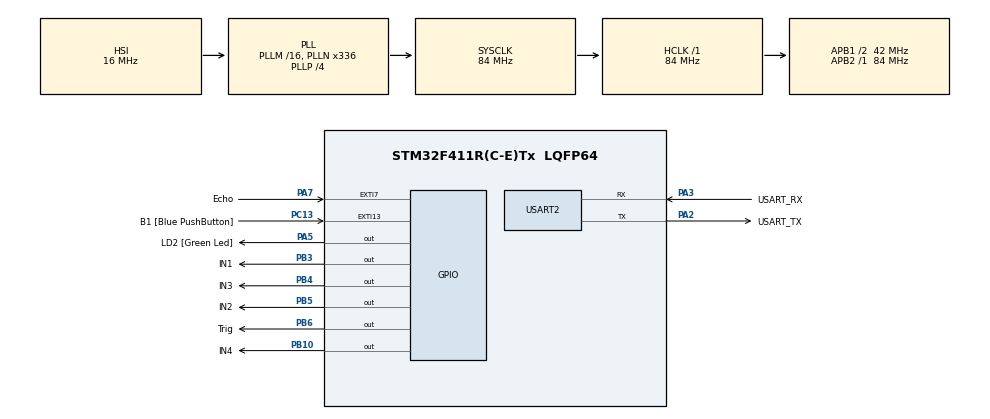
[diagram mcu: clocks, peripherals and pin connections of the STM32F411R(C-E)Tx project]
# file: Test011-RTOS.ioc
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FREERTOS.BinarySemaphores01=myBinarySem01,Dynamic,NULL
FREERTOS.Tasks01=myTask01,0,128,StartTask01,Default,NULL,Dynamic,NULL,NULL;myTask02,-1,128,StartTask02,Default,NULL,Dynamic,NULL,NULL;myTask03,-2,128,StartTask03,Default,NULL,Dynamic,NULL,NULL;myTask04,-3,128,StartTask04,Default,NULL,Dynamic,NULL,NULL
FREERTOS.configUSE_NEWLIB_REENTRANT=1
Mcu.Family=STM32F4
Mcu.Name=STM32F411R(C-E)Tx
Mcu.Package=LQFP64
NVIC.EXTI9_5_IRQn=true\:0\:0\:false\:false\:true\:false\:true\:true\:true
NVIC.PriorityGroup=NVIC_PRIORITYGROUP_4
NVIC.TIM1_UP_TIM10_IRQn=true\:15\:0\:false\:false\:true\:false\:false\:true\:true
NVIC.TimeBase=TIM1_UP_TIM10_IRQn
NVIC.TimeBaseIP=TIM10
PA13.GPIO_Label=TMS
PA13.Mode=Serial_Wire
PA13.Signal=SYS_JTMS-SWDIO
PA14.GPIO_Label=TCK
PA14.Mode=Serial_Wire
PA14.Signal=SYS_JTCK-SWCLK
PA2.GPIO_Label=USART_TX
PA2.Mode=Asynchronous
PA2.Signal=USART2_TX
PA3.GPIO_Label=USART_RX
PA3.Mode=Asynchronous
PA3.Signal=USART2_RX
PA5.GPIO_Label=LD2 [Green Led]
PA5.Signal=GPIO_Output
PA7.GPIO_Label=Echo
PA7.GPIO_ModeDefaultEXTI=GPIO_MODE_IT_RISING_FALLING
PA7.Signal=GPXTI7
PB10.GPIO_Label=IN4
PB10.Signal=GPIO_Output
PB3.GPIO_Label=IN1
PB3.Signal=GPIO_Output
PB4.GPIO_Label=IN3
PB4.Signal=GPIO_Output
PB5.GPIO_Label=IN2
PB5.Signal=GPIO_Output
PB6.GPIO_Label=Trig
PB6.Signal=GPIO_Output
PC13-ANTI_TAMP.GPIO_Label=B1 [Blue PushButton]
PC13-ANTI_TAMP.GPIO_ModeDefaultEXTI=GPIO_MODE_IT_FALLING
PC13-ANTI_TAMP.Signal=GPXTI13
PC14-OSC32_IN.Mode=LSE-External-Oscillator
PC14-OSC32_IN.Signal=RCC_OSC32_IN
PC15-OSC32_OUT.Mode=LSE-External-Oscillator
PC15-OSC32_OUT.Signal=RCC_OSC32_OUT
PH0\ -\ OSC_IN.Mode=HSE-External-Clock-Source
PH0\ -\ OSC_IN.Signal=RCC_OSC_IN
PH1\ -\ OSC_OUT.Mode=HSE-External-Clock-Source
PH1\ -\ OSC_OUT.Signal=RCC_OSC_OUT
ProjectManager.HeapSize=0x200
ProjectManager.StackSize=0x400
ProjectManager.TargetToolchain=STM32CubeIDE
RCC.48MHZClocksFreq_Value=84000000
RCC.AHBFreq_Value=84000000
RCC.APB1CLKDivider=RCC_HCLK_DIV2
RCC.APB1Freq_Value=42000000
RCC.APB1TimFreq_Value=84000000
RCC.APB2Freq_Value=84000000
RCC.APB2TimFreq_Value=84000000
RCC.CortexFreq_Value=84000000
RCC.FLatency-AdvancedSettings=FLASH_LATENCY_2
RCC.HCLKFreq_Value=84000000
RCC.HSE_VALUE=8000000
RCC.HSI_VALUE=16000000
RCC.PLLN=336
RCC.PLLP=RCC_PLLP_DIV4
RCC.SYSCLKFreq_VALUE=84000000
RCC.SYSCLKSource=RCC_SYSCLKSOURCE_PLLCLK
RCC.VCOOutputFreq_Value=336000000
TIM2.Prescaler=84-1
USART2.VirtualMode=VM_ASYNC
VP_FREERTOS_VS_CMSIS_V1.Mode=CMSIS_V1
VP_SYS_VS_tim10.Mode=TIM10
VP_TIM2_VS_ClockSourceINT.Mode=Internal
board=NUCLEO-F411RE

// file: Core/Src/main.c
/* USER CODE BEGIN Header */
/**
  ******************************************************************************
  * @file           : main.c
  * @brief          : Main program body
  ******************************************************************************
  * @attention
  *
  * Copyright (c) 2025 STMicroelectronics.
  * All rights reserved.
  *
  * This software is licensed under terms that can be found in the LICENSE file
  * in the root directory of this software component.
  * If no LICENSE file comes with this software, it is provided AS-IS.
  *
  ******************************************************************************
  */
/* USER CODE END Header */
#include "main.h"
#include "cmsis_os.h"

TIM_HandleTypeDef htim2;

UART_HandleTypeDef huart2;

osThreadId myTask01Handle;
osThreadId myTask02Handle;
osThreadId myTask03Handle;
osThreadId myTask04Handle;
osSemaphoreId myBinarySem01Handle;

void SystemClock_Config(void);
static void MX_GPIO_Init(void);
static void MX_USART2_UART_Init(void);
static void MX_TIM2_Init(void);
void StartTask01(void const * argument);
void StartTask02(void const * argument);
void StartTask03(void const * argument);
void StartTask04(void const * argument);

/* USER CODE BEGIN 0 */

void microDelay(int us) // us : micro second
{
   int t1 = htim2.Instance->CNT;
//   while(1)
//   {
//      if(htim2.Instance->CNT - t1 >= us) break;
//   }
   while(htim2.Instance->CNT - t1 < us);
//   htim2.Instance->CNT = 0;
//   while(htim2.Instance->CNT < us);
}

void Trigger()
{
   HAL_GPIO_WritePin(Trig_GPIO_Port, Trig_Pin, 0);
   microDelay(10);
   HAL_GPIO_WritePin(Trig_GPIO_Port, Trig_Pin, 1);
   microDelay(10);
   HAL_GPIO_WritePin(Trig_GPIO_Port, Trig_Pin, 0);
}
int t0= 0; t1=0;
volatile int dist=0;// mm
void HAL_GPIO_EXTI_Callback(uint16_t GPIO_Pin)
{
	if(GPIO_Pin == Echo_Pin)
	{
		int tt = htim2.Instance->CNT;
		//ㅑ
		if(HAL_GPIO_ReadPin(Echo_GPIO_Port, Echo_Pin) == 1)//rising
		{
			t0=tt;

		}
		else
		{
			t1=tt;
			dist=(double)0.17*(t1-t0);
		}

	}
}
/* USER CODE END 0 */

int main(void)
{

  /* MCU Configuration--------------------------------------------------------*/

  /* Reset of all peripherals, Initializes the Flash interface and the Systick. */
  HAL_Init();

  /* Configure the system clock */
  SystemClock_Config();

  /* Initialize all configured peripherals */
  MX_GPIO_Init();
  MX_USART2_UART_Init();
  MX_TIM2_Init();

  /* Create the semaphores(s) */
  /* definition and creation of myBinarySem01 */
  osSemaphoreDef(myBinarySem01);
  myBinarySem01Handle = osSemaphoreCreate(osSemaphore(myBinarySem01), 1);

  /* Create the thread(s) */
  /* definition and creation of myTask01 */
  osThreadDef(myTask01, StartTask01, osPriorityNormal, 0, 128);
  myTask01Handle = osThreadCreate(osThread(myTask01), NULL);

  /* definition and creation of myTask02 */
  osThreadDef(myTask02, StartTask02, osPriorityBelowNormal, 0, 128);
  myTask02Handle = osThreadCreate(osThread(myTask02), NULL);

  /* definition and creation of myTask03 */
  osThreadDef(myTask03, StartTask03, osPriorityLow, 0, 128);
  myTask03Handle = osThreadCreate(osThread(myTask03), NULL);

  /* definition and creation of myTask04 */
  osThreadDef(myTask04, StartTask04, osPriorityIdle, 0, 128);
  myTask04Handle = osThreadCreate(osThread(myTask04), NULL);

  /* USER CODE BEGIN RTOS_THREADS */
  /* add threads, ... */
  ProgramStart("RTOS-Mission");
  HAL_TIM_Base_Start(&htim2);
  /* USER CODE END RTOS_THREADS */

  /* Start scheduler */
  osKernelStart();

  /* We should never get here as control is now taken by the scheduler */
  /* Infinite loop */
  while (1)
  {

  }
}

void SystemClock_Config(void)
{
  RCC_OscInitTypeDef RCC_OscInitStruct = {0};
  RCC_ClkInitTypeDef RCC_ClkInitStruct = {0};

  /** Configure the main internal regulator output voltage
  */
  __HAL_RCC_PWR_CLK_ENABLE();
  __HAL_PWR_VOLTAGESCALING_CONFIG(PWR_REGULATOR_VOLTAGE_SCALE1);

  /** Initializes the RCC Oscillators according to the specified parameters
  * in the RCC_OscInitTypeDef structure.
  */
  RCC_OscInitStruct.OscillatorType = RCC_OSCILLATORTYPE_HSI;
  RCC_OscInitStruct.HSIState = RCC_HSI_ON;
  RCC_OscInitStruct.HSICalibrationValue = RCC_HSICALIBRATION_DEFAULT;
  RCC_OscInitStruct.PLL.PLLState = RCC_PLL_ON;
  RCC_OscInitStruct.PLL.PLLSource = RCC_PLLSOURCE_HSI;
  RCC_OscInitStruct.PLL.PLLM = 16;
  RCC_OscInitStruct.PLL.PLLN = 336;
  RCC_OscInitStruct.PLL.PLLP = RCC_PLLP_DIV4;
  RCC_OscInitStruct.PLL.PLLQ = 4;
  if (HAL_RCC_OscConfig(&RCC_OscInitStruct) != HAL_OK)
  {
    Error_Handler();
  }

  /** Initializes the CPU, AHB and APB buses clocks
  */
  RCC_ClkInitStruct.ClockType = RCC_CLOCKTYPE_HCLK|RCC_CLOCKTYPE_SYSCLK
                              |RCC_CLOCKTYPE_PCLK1|RCC_CLOCKTYPE_PCLK2;
  RCC_ClkInitStruct.SYSCLKSource = RCC_SYSCLKSOURCE_PLLCLK;
  RCC_ClkInitStruct.AHBCLKDivider = RCC_SYSCLK_DIV1;
  RCC_ClkInitStruct.APB1CLKDivider = RCC_HCLK_DIV2;
  RCC_ClkInitStruct.APB2CLKDivider = RCC_HCLK_DIV1;

  if (HAL_RCC_ClockConfig(&RCC_ClkInitStruct, FLASH_LATENCY_2) != HAL_OK)
  {
    Error_Handler();
  }
}

static void MX_TIM2_Init(void)
{

  TIM_ClockConfigTypeDef sClockSourceConfig = {0};
  TIM_MasterConfigTypeDef sMasterConfig = {0};

  htim2.Instance = TIM2;
  htim2.Init.Prescaler = 84-1;
  htim2.Init.CounterMode = TIM_COUNTERMODE_UP;
  htim2.Init.Period = 4294967295;
  htim2.Init.ClockDivision = TIM_CLOCKDIVISION_DIV1;
  htim2.Init.AutoReloadPreload = TIM_AUTORELOAD_PRELOAD_DISABLE;
  if (HAL_TIM_Base_Init(&htim2) != HAL_OK)
  {
    Error_Handler();
  }
  sClockSourceConfig.ClockSource = TIM_CLOCKSOURCE_INTERNAL;
  if (HAL_TIM_ConfigClockSource(&htim2, &sClockSourceConfig) != HAL_OK)
  {
    Error_Handler();
  }
  sMasterConfig.MasterOutputTrigger = TIM_TRGO_RESET;
  sMasterConfig.MasterSlaveMode = TIM_MASTERSLAVEMODE_DISABLE;
  if (HAL_TIMEx_MasterConfigSynchronization(&htim2, &sMasterConfig) != HAL_OK)
  {
    Error_Handler();
  }

}

static void MX_USART2_UART_Init(void)
{

  huart2.Instance = USART2;
  huart2.Init.BaudRate = 115200;
  huart2.Init.WordLength = UART_WORDLENGTH_8B;
  huart2.Init.StopBits = UART_STOPBITS_1;
  huart2.Init.Parity = UART_PARITY_NONE;
  huart2.Init.Mode = UART_MODE_TX_RX;
  huart2.Init.HwFlowCtl = UART_HWCONTROL_NONE;
  huart2.Init.OverSampling = UART_OVERSAMPLING_16;
  if (HAL_UART_Init(&huart2) != HAL_OK)
  {
    Error_Handler();
  }

}

static void MX_GPIO_Init(void)
{
  GPIO_InitTypeDef GPIO_InitStruct = {0};

  /* GPIO Ports Clock Enable */
  __HAL_RCC_GPIOC_CLK_ENABLE();
  __HAL_RCC_GPIOH_CLK_ENABLE();
  __HAL_RCC_GPIOA_CLK_ENABLE();
  __HAL_RCC_GPIOB_CLK_ENABLE();

  /*Configure GPIO pin Output Level */
  HAL_GPIO_WritePin(LD2_GPIO_Port, LD2_Pin, GPIO_PIN_RESET);

  /*Configure GPIO pin Output Level */
  HAL_GPIO_WritePin(GPIOB, IN4_Pin|IN1_Pin|IN3_Pin|IN2_Pin
                          |Trig_Pin, GPIO_PIN_RESET);

  /*Configure GPIO pin : B1_Pin */
  GPIO_InitStruct.Pin = B1_Pin;
  GPIO_InitStruct.Mode = GPIO_MODE_IT_FALLING;
  GPIO_InitStruct.Pull = GPIO_NOPULL;
  HAL_GPIO_Init(B1_GPIO_Port, &GPIO_InitStruct);

  /*Configure GPIO pin : LD2_Pin */
  GPIO_InitStruct.Pin = LD2_Pin;
  GPIO_InitStruct.Mode = GPIO_MODE_OUTPUT_PP;
  GPIO_InitStruct.Pull = GPIO_NOPULL;
  GPIO_InitStruct.Speed = GPIO_SPEED_FREQ_LOW;
  HAL_GPIO_Init(LD2_GPIO_Port, &GPIO_InitStruct);

  /*Configure GPIO pin : Echo_Pin */
  GPIO_InitStruct.Pin = Echo_Pin;
  GPIO_InitStruct.Mode = GPIO_MODE_IT_RISING_FALLING;
  GPIO_InitStruct.Pull = GPIO_NOPULL;
  HAL_GPIO_Init(Echo_GPIO_Port, &GPIO_InitStruct);

  /*Configure GPIO pins : IN4_Pin IN1_Pin IN3_Pin IN2_Pin
                           Trig_Pin */
  GPIO_InitStruct.Pin = IN4_Pin|IN1_Pin|IN3_Pin|IN2_Pin
                          |Trig_Pin;
  GPIO_InitStruct.Mode = GPIO_MODE_OUTPUT_PP;
  GPIO_InitStruct.Pull = GPIO_NOPULL;
  GPIO_InitStruct.Speed = GPIO_SPEED_FREQ_LOW;
  HAL_GPIO_Init(GPIOB, &GPIO_InitStruct);

  /* EXTI interrupt init*/
  HAL_NVIC_SetPriority(EXTI9_5_IRQn, 0, 0);
  HAL_NVIC_EnableIRQ(EXTI9_5_IRQn);

}

void StartTask01(void const * argument)
{
  /* USER CODE BEGIN 5 */
  /* Infinite loop */
  for(;;)
  {
	if(osSemaphoreWait(myBinarySem01Handle,0) == osOK)
	{
		Trigger(); HAL_Delay(60);//
		osSemaphoreRelease(myBinarySem01Handle);
	}
    osDelay(1);
  }
  /* USER CODE END 5 */
}

void StartTask02(void const * argument)
{
  /* USER CODE BEGIN StartTask02 */
  /* Infinite loop */
  for(;;)
  {
	if(osSemaphoreWait(myBinarySem01Handle,0) == osOK)
	{
		osSemaphoreRelease(myBinarySem01Handle);
	}
    osDelay(1);
  }
  /* USER CODE END StartTask02 */
}

void StartTask03(void const * argument)
{
  /* USER CODE BEGIN StartTask03 */
  /* Infinite loop */
  for(;;)
  {
	if(osSemaphoreWait(myBinarySem01Handle,0) == osOK)
	{
		osSemaphoreRelease(myBinarySem01Handle);
	}
    osDelay(1);
  }
  /* USER CODE END StartTask03 */
}

void StartTask04(void const * argument)
{
  /* USER CODE BEGIN StartTask04 */
  /* Infinite loop */
  for(;;)
  {
	if(osSemaphoreWait(myBinarySem01Handle,0) == osOK)
	{
		int dm = dist / 1000;
		int dc = ((int)(dist * 10))%100;
		printf("Current Distance : %d m %d cm (%d mm)(%d-%d)\r\n", dm, dc, dist,t1,t0);
		osSemaphoreRelease(myBinarySem01Handle);
	}
    osDelay(1);
  }
  /* USER CODE END StartTask04 */
}

void HAL_TIM_PeriodElapsedCallback(TIM_HandleTypeDef *htim)
{
  if (htim->Instance == TIM10) {
    HAL_IncTick();
  }
}

void Error_Handler(void)
{
  __disable_irq();
  while (1)
  {
  }
}
